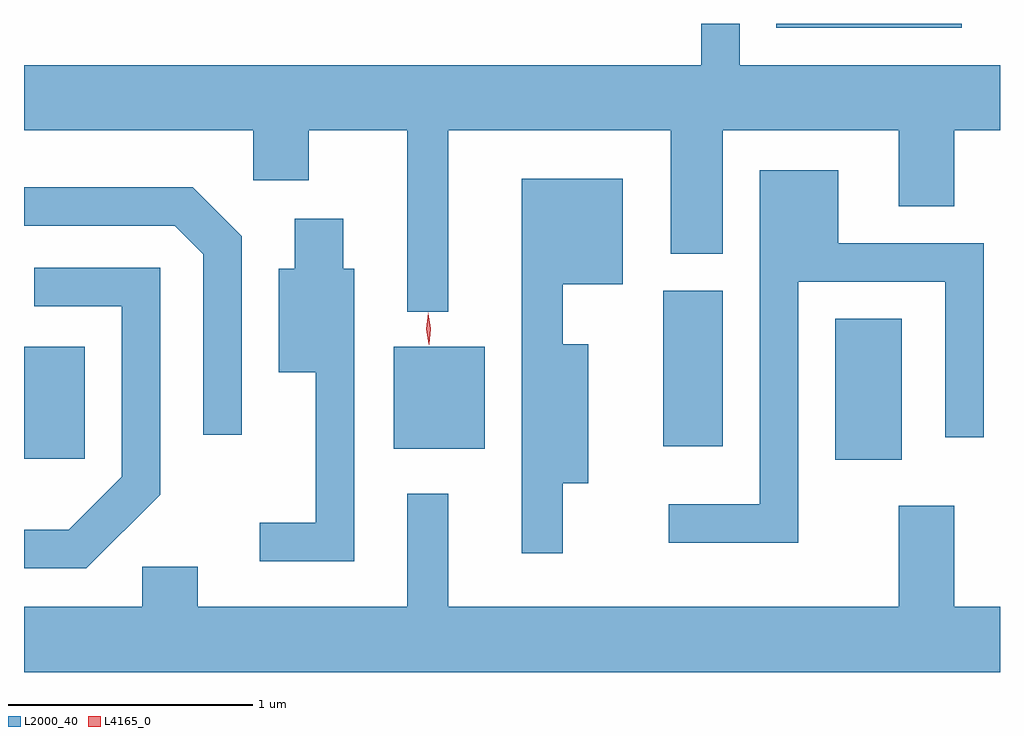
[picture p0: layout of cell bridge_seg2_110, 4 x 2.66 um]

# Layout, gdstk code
import gdstk
lib = gdstk.Library(unit=1e-6, precision=1e-09)
def R(c, l, rs):  # rectangles x0, y0, x1, y1
    for r in rs: c.add(gdstk.rectangle(r[:2], r[2:], *l))
def P(c, l, *ps):  # polygons
    for p in ps: c.add(gdstk.Polygon(p, *l))
L2000_40 = (2000, 40)
L4165_0 = (4165, 0)

bridge_seg2_110 = lib.new_cell('bridge_seg2_110')
R(bridge_seg2_110, L2000_40, [(924.176,1078.046,924.449,1078.624), (920.851,1078.051,921.099,1078.509), (922.366,1078.091,922.739,1078.509), (923.471,1078.101,923.714,1078.739), (923.933,1079.816,924.694,1079.833)])
P(bridge_seg2_110, L2000_40, [(922.589,1079.396),(923.501,1079.396),(923.501,1078.891),(923.714,1078.891),(923.714,1079.396),(924.436,1079.396),(924.436,1079.086),(924.664,1079.086),(924.664,1079.396),(924.851,1079.396),(924.851,1079.664),(923.784,1079.664),(923.784,1079.833),(923.626,1079.833),(923.626,1079.664),(920.851,1079.664),(920.851,1079.396),(921.791,1079.396),(921.791,1079.191),(922.019,1079.191),(922.019,1079.396),(922.421,1079.396),(922.421,1078.653),(922.589,1078.653)],
  [(924.024,1078.776),(924.626,1078.776),(924.626,1078.138),(924.784,1078.138),(924.784,1078.934),(924.189,1078.934),(924.189,1079.234),(923.866,1079.234),(923.866,1077.864),(923.493,1077.864),(923.493,1077.706),(924.024,1077.706)],
  [(923.059,1077.951),(923.164,1077.951),(923.164,1078.519),(923.059,1078.519),(923.059,1078.766),(923.304,1078.766),(923.304,1079.199),(922.891,1079.199),(922.891,1077.663),(923.059,1077.663)],
  [(921.744,1078.962),(921.542,1079.164),(920.851,1079.164),(920.851,1079.006),(921.469,1079.006),(921.586,1078.889),(921.586,1078.148),(921.744,1078.148)],
  [(922.204,1078.829),(922.159,1078.829),(922.159,1079.034),(921.961,1079.034),(921.961,1078.829),(921.896,1078.829),(921.896,1078.406),(922.046,1078.406),(922.046,1077.789),(921.818,1077.789),(921.818,1077.631),(922.204,1077.631)],
  [(921.409,1077.904),(921.409,1078.834),(920.893,1078.834),(920.893,1078.676),(921.251,1078.676),(921.251,1077.977),(921.034,1077.759),(920.851,1077.759),(920.851,1077.601),(921.107,1077.601)],
  [(924.851,1077.444),(924.664,1077.444),(924.664,1077.859),(924.436,1077.859),(924.436,1077.444),(922.589,1077.444),(922.589,1077.908),(922.421,1077.908),(922.421,1077.444),(921.564,1077.444),(921.564,1077.609),(921.336,1077.609),(921.336,1077.444),(920.851,1077.444),(920.851,1077.176),(924.851,1077.176)])
P(bridge_seg2_110, L4165_0, [(922.511,1078.518),(922.51,1078.519),(922.499,1078.583),(922.508,1078.647),(922.508,1078.648),(922.508,1078.647),(922.519,1078.583),(922.511,1078.519)])

lib.write_gds('bridge_seg2_110.gds')
